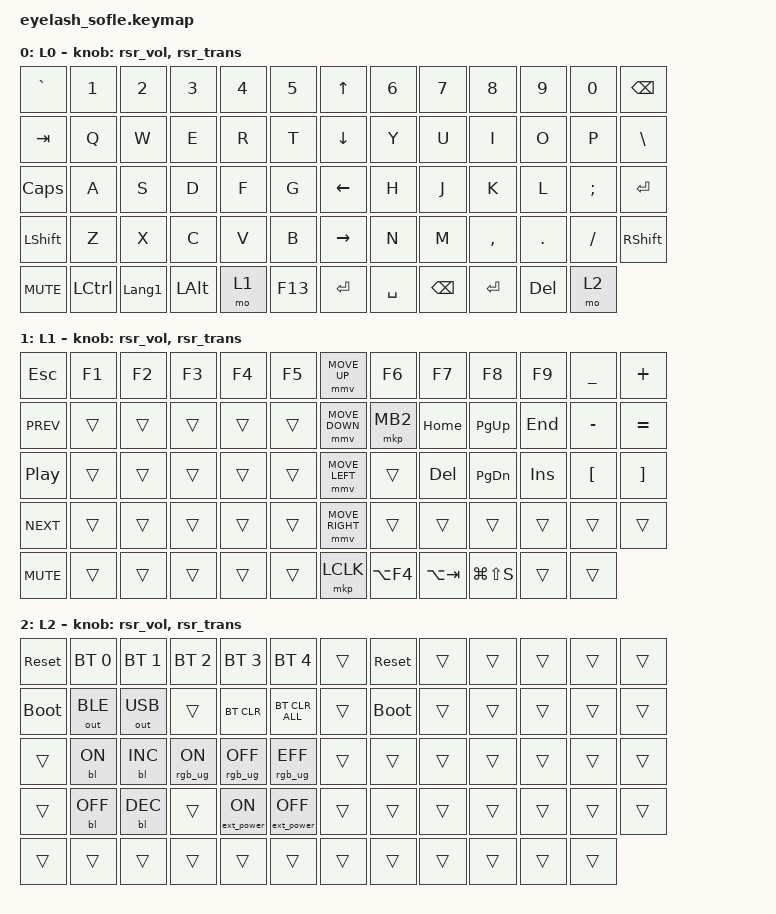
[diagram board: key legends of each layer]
#define ZMK_POINTING_DEFAULT_MOVE_VAL 1200  // 600
#define ZMK_POINTING_DEFAULT_SCRL_VAL 25   // 10

#include <input/processors.dtsi>
#include <zephyr/dt-bindings/input/input-event-codes.h>
#include <behaviors/runtime-sensor-rotate.dtsi>
#include <behaviors.dtsi>
#include <dt-bindings/zmk/backlight.h>
#include <dt-bindings/zmk/bt.h>
#include <dt-bindings/zmk/ext_power.h>
#include <dt-bindings/zmk/keys.h>
#include <dt-bindings/zmk/outputs.h>
#include <dt-bindings/zmk/pointing.h>
#include <dt-bindings/zmk/rgb.h>

&mmv_input_listener { input-processors = <&zip_xy_scaler 2 1>; };

&msc_input_listener { input-processors = <&zip_scroll_scaler 2 1>; };

&msc {
    acceleration-exponent = <1>;      // 0
    time-to-max-speed-ms = <100>;       // 300
    delay-ms = <0>;                   // 0
};

&mmv {
    time-to-max-speed-ms = <500>;
    acceleration-exponent = <1>;
    trigger-period-ms = <16>;
};

&soft_off { hold-time-ms = <2000>; };

/ {
    scroll_encoder: scroll_encoder {
        compatible = "zmk,behavior-sensor-rotate";
        #sensor-binding-cells = <0>;
        bindings = <&msc SCRL_DOWN>, <&msc SCRL_UP>;

        tap-ms = <100>;
    };

    behaviors {
        rsr_vol: rsr_vol {
            compatible = "zmk,behavior-runtime-sensor-rotate";
            #sensor-binding-cells = <0>;
            tap-ms = <5>;
            cw-binding = <&kp C_VOL_UP>;
            ccw-binding = <&kp C_VOL_DN>;
        };

        rsr_trans: rsr_trans {
            compatible = "zmk,behavior-runtime-sensor-rotate";
            #sensor-binding-cells = <0>;
            tap-ms = <0>;
        };
    };

    combos {
        compatible = "zmk,combos";

        softoff {
            bindings = <&soft_off>;
            key-positions = <14 28 40>;
        };
    };

    keymap {
        compatible = "zmk,keymap";

        layer0 {
            bindings = <
&kp GRAVE     &kp N1     &kp N2          &kp N3        &kp N4  &kp N5     &kp UP_ARROW     &kp N6     &kp N7         &kp N8     &kp N9      &kp N0    &kp BACKSPACE
&kp TAB       &kp Q      &kp W           &kp E         &kp R   &kp T      &kp DOWN_ARROW   &kp Y      &kp U          &kp I      &kp O       &kp P     &kp BSLH
&kp CAPSLOCK  &kp A      &kp S           &kp D         &kp F   &kp G      &kp LEFT_ARROW   &kp H      &kp J          &kp K      &kp L       &kp SEMI  &kp ENTER
&kp LSHFT     &kp Z      &kp X           &kp C         &kp V   &kp B      &kp RIGHT_ARROW  &kp N      &kp M          &kp COMMA  &kp DOT     &kp FSLH  &kp RSHIFT
&kp C_MUTE    &kp LCTRL  &kp LANGUAGE_1  &kp LEFT_ALT  &mo 1   &kp F13    &kp ENTER        &kp SPACE  &kp BACKSPACE  &kp ENTER  &kp DELETE  &mo 2
            >;

            sensor-bindings = <&rsr_vol &rsr_trans>;
            display-name = "L0";
        };

        layer_1 {
            bindings = <
&kp ESCAPE        &kp F1  &kp F2  &kp F3  &kp F4  &kp F5    &mmv MOVE_UP     &kp F6      &kp F7       &kp F8         &kp F9      &kp UNDERSCORE    &kp PLUS
&kp C_PREV        &trans  &trans  &trans  &trans  &trans    &mmv MOVE_DOWN   &mkp MB2    &kp HOME     &kp PAGE_UP    &kp END     &kp MINUS         &kp EQUAL
&kp C_PLAY_PAUSE  &trans  &trans  &trans  &trans  &trans    &mmv MOVE_LEFT   &trans      &kp DELETE   &kp PAGE_DOWN  &kp INSERT  &kp LEFT_BRACKET  &kp RIGHT_BRACKET
&kp C_NEXT        &trans  &trans  &trans  &trans  &trans    &mmv MOVE_RIGHT  &trans      &trans       &trans         &trans      &trans            &trans
&kp C_MUTE        &trans  &trans  &trans  &trans  &trans    &mkp LCLK        &kp LA(F4)  &kp LA(TAB)  &kp LG(LS(S))  &trans      &trans
            >;

            display-name = "L1";
            sensor-bindings = <&rsr_vol &rsr_trans>;
        };

        layer_2 {
            bindings = <
&sys_reset   &bt BT_SEL 0  &bt BT_SEL 1  &bt BT_SEL 2    &bt BT_SEL 3      &bt BT_SEL 4         &trans  &sys_reset   &trans  &trans  &trans  &trans  &trans
&bootloader  &out OUT_BLE  &out OUT_USB  &trans          &bt BT_CLR        &bt BT_CLR_ALL       &trans  &bootloader  &trans  &trans  &trans  &trans  &trans
&trans       &bl BL_ON     &bl BL_INC    &rgb_ug RGB_ON  &rgb_ug RGB_OFF   &rgb_ug RGB_EFF      &trans  &trans       &trans  &trans  &trans  &trans  &trans
&trans       &bl BL_OFF    &bl BL_DEC    &trans          &ext_power EP_ON  &ext_power EP_OFF    &trans  &trans       &trans  &trans  &trans  &trans  &trans
&trans       &trans        &trans        &trans          &trans            &trans               &trans  &trans       &trans  &trans  &trans  &trans
            >;

            display-name = "L2";
            sensor-bindings = <&rsr_vol &rsr_trans>;
        };
    };
};
